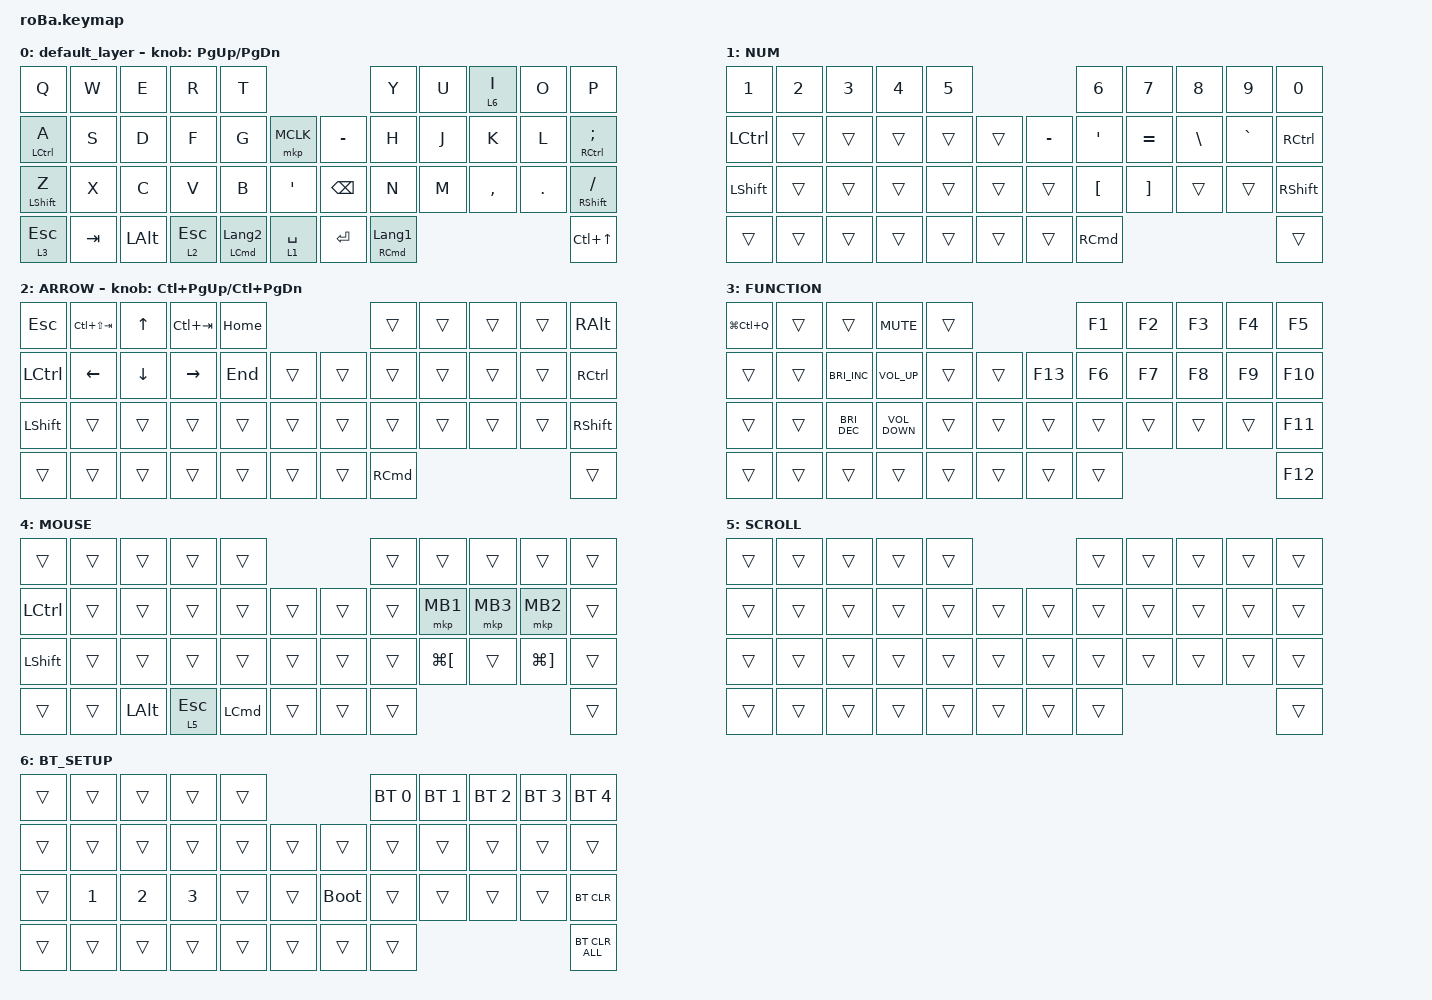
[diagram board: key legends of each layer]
#include <dt-bindings/zmk/mouse.h>
#include <behaviors.dtsi>
#include <dt-bindings/zmk/bt.h>
#include <dt-bindings/zmk/keys.h>
#include <dt-bindings/zmk/pointing.h>

#define ZMK_MOUSE_POINTING_SCRL_VAL 20

&mt {
    flavor = "balanced";
    quick-tap-ms = <0>;
};

&trackball {
    automouse-layer = <4>;
    scroll-layers = <5>;

    // arrows {
    //     layers = <3>;
    //     bindings =
    //         <&kp RIGHT_ARROW>,
    //         <&kp LEFT_ARROW>,
    //         <&kp UP_ARROW>,
    //         <&kp DOWN_ARROW>;
    //     tick = <10>;
    //     wait-ms = <5>;
    //     tap-ms = <5>;
    // };
};

/ {
    combos {
        compatible = "zmk,combos";

        tab {
            bindings = <&kp TAB>;
            key-positions = <22 23>;
        };
    };

    macros {
        to_layer_0: to_layer_0 {
            compatible = "zmk,behavior-macro-one-param";
            #binding-cells = <1>;
            bindings = <&to 0 &macro_param_1to1 &kp MACRO_PLACEHOLDER>;
            label = "TO_LAYER_0";
        };
    };

    behaviors {
        lt_to_layer_0: lt_to_layer_0 {
            compatible = "zmk,behavior-hold-tap";
            label = "LAYER_TAP_TO_0";
            bindings = <&mo>, <&to_layer_0>;

            #binding-cells = <2>;
            tapping-term-ms = <200>;
        };

        encoder_msc_down_up: encoder_msc_down_up {
            compatible = "zmk,behavior-sensor-rotate";
            label = "ENCODER_MSC_DOWN_UP";
            #sensor-binding-cells = <0>;
            bindings = <&msc SCRL_DOWN>, <&msc SCRL_UP>;

            tap-ms = <20>;
        };
    };

    keymap {
        compatible = "zmk,keymap";

        default_layer {
            bindings = <
&kp Q                 &kp W    &kp E         &kp R                    &kp T                                                                   &kp Y                         &kp U  &lt 6 I    &kp O    &kp P
&mt LEFT_CONTROL A    &kp S    &kp D         &kp F                    &kp G                        &mkp MCLK                   &kp MINUS      &kp H                         &kp J  &kp K      &kp L    &mt RIGHT_CONTROL SEMI
&mt LEFT_SHIFT Z      &kp X    &kp C         &kp V                    &kp B                        &kp SQT                     &kp BACKSPACE  &kp N                         &kp M  &kp COMMA  &kp DOT  &mt RIGHT_SHIFT SLASH
&lt_to_layer_0 3 ESC  &kp TAB  &kp LEFT_ALT  &lt_to_layer_0 2 ESCAPE  &mt LEFT_COMMAND LANGUAGE_2  &lt_to_layer_0 1 SPACE      &kp ENTER      &mt RIGHT_COMMAND LANGUAGE_1                             &kp LC(UP_ARROW)
            >;

            sensor-bindings = <&inc_dec_kp PAGE_UP PAGE_DOWN>;
        };

        NUM {
            bindings = <
&kp NUMBER_1      &kp NUMBER_2  &kp NUMBER_3  &kp NUMBER_4  &kp N5                         &kp NUMBER_6       &kp N7             &kp N8         &kp N9     &kp N0
&kp LEFT_CONTROL  &trans        &trans        &trans        &trans  &trans      &kp MINUS  &kp SINGLE_QUOTE   &kp EQUAL          &kp BACKSLASH  &kp GRAVE  &kp RIGHT_CONTROL
&kp LEFT_SHIFT    &trans        &trans        &trans        &trans  &trans      &trans     &kp LEFT_BRACKET   &kp RIGHT_BRACKET  &trans         &trans     &kp RIGHT_SHIFT
&trans            &trans        &trans        &trans        &trans  &trans      &trans     &kp RIGHT_COMMAND                                               &trans
            >;
        };

        ARROW {
            bindings = <
&kp ESCAPE        &kp LC(LS(TAB))  &kp UP_ARROW    &kp LC(TAB)      &kp HOME                      &trans             &trans  &trans  &trans  &kp RIGHT_ALT
&kp LEFT_CONTROL  &kp LEFT_ARROW   &kp DOWN_ARROW  &kp RIGHT_ARROW  &kp END   &trans      &trans  &trans             &trans  &trans  &trans  &kp RIGHT_CONTROL
&kp LEFT_SHIFT    &trans           &trans          &trans           &trans    &trans      &trans  &trans             &trans  &trans  &trans  &kp RIGHT_SHIFT
&trans            &trans           &trans          &trans           &trans    &trans      &trans  &kp RIGHT_COMMAND                          &trans
            >;

            sensor-bindings = <&inc_dec_kp LC(PAGE_UP) LC(PAGE_DOWN)>;
        };

        FUNCTION {
            bindings = <
&kp LG(LC(Q))  &trans  &trans                &kp K_MUTE         &trans                       &kp F1  &kp F2  &kp F3  &kp F4  &kp F5
&trans         &trans  &kp C_BRI_INC         &kp C_VOLUME_UP    &trans  &trans      &kp F13  &kp F6  &kp F7  &kp F8  &kp F9  &kp F10
&trans         &trans  &kp C_BRIGHTNESS_DEC  &kp C_VOLUME_DOWN  &trans  &trans      &trans   &trans  &trans  &trans  &trans  &kp F11
&trans         &trans  &trans                &trans             &trans  &trans      &trans   &trans                          &kp F12
            >;
        };

        MOUSE {
            bindings = <
&trans            &trans  &trans        &trans                &trans                                &trans  &trans                &trans    &trans                 &trans
&kp LEFT_CONTROL  &trans  &trans        &trans                &trans            &trans      &trans  &trans  &mkp MB1              &mkp MB3  &mkp MB2               &trans
&kp LEFT_SHIFT    &trans  &trans        &trans                &trans            &trans      &trans  &trans  &kp LG(LEFT_BRACKET)  &trans    &kp LG(RIGHT_BRACKET)  &trans
&trans            &trans  &kp LEFT_ALT  &lt_to_layer_0 5 ESC  &kp LEFT_COMMAND  &trans      &trans  &trans                                                         &trans
            >;
        };

        SCROLL {
            bindings = <
&trans  &trans  &trans  &trans  &trans                      &trans  &trans  &trans  &trans  &trans
&trans  &trans  &trans  &trans  &trans  &trans      &trans  &trans  &trans  &trans  &trans  &trans
&trans  &trans  &trans  &trans  &trans  &trans      &trans  &trans  &trans  &trans  &trans  &trans
&trans  &trans  &trans  &trans  &trans  &trans      &trans  &trans                          &trans
            >;
        };

        BT_SETUP {
            bindings = <
&trans  &trans        &trans        &trans        &trans                           &bt BT_SEL 0  &bt BT_SEL 1  &bt BT_SEL 2  &bt BT_SEL 3  &bt BT_SEL 4
&trans  &trans        &trans        &trans        &trans  &trans      &trans       &trans        &trans        &trans        &trans        &trans
&trans  &kp NUMBER_1  &kp NUMBER_2  &kp NUMBER_3  &trans  &trans      &bootloader  &trans        &trans        &trans        &trans        &bt BT_CLR
&trans  &trans        &trans        &trans        &trans  &trans      &trans       &trans                                                  &bt BT_CLR_ALL
            >;
        };
    };

    conditional_layers {
        compatible = "zmk,conditional-layers";

        BT_SETUP {
            if-layers = <1 2>;
            then-layer = <6>;
        };
    };
};
